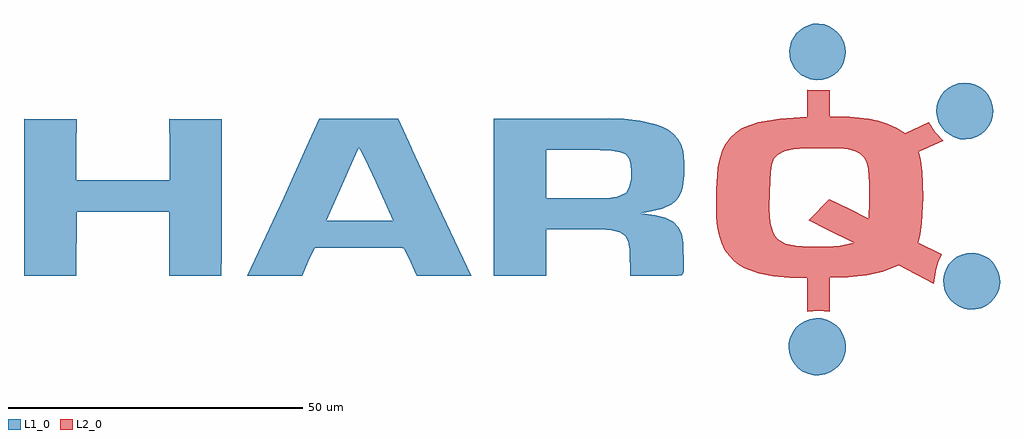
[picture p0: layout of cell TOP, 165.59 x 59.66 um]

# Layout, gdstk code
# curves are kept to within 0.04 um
import gdstk
lib = gdstk.Library(unit=1e-6, precision=1e-09)
def P(c, l, *ps):  # polygons
    for p in ps: c.add(gdstk.Polygon(p, *l))
L1_0 = (1, 0)
L2_0 = (2, 0)

top = lib.new_cell('TOP')
P(top, L1_0, [(184.411,27.929),(183.424,27.959),(182.492,28.18),(181.636,28.571),(180.877,29.116),(180.235,29.796),(179.733,30.592),(179.39,31.487),(179.228,32.461),(179.265,33.447),(179.492,34.378),(179.889,35.231),(180.439,35.987),(181.123,36.624),(181.923,37.122),(182.819,37.458),(183.794,37.614),(184.771,37.572),(185.694,37.344),(186.54,36.948),(187.289,36.402),(187.921,35.723),(188.417,34.931),(188.754,34.044),(188.913,33.078),(188.878,32.1),(188.656,31.177),(188.266,30.328),(187.724,29.575),(187.05,28.938),(186.261,28.438),(185.376,28.095)],
  [(209.937,39.088),(209.007,39.242),(208.14,39.568),(207.357,40.051),(206.679,40.672),(206.128,41.417),(205.725,42.269),(205.492,43.211),(205.452,44.181),(205.599,45.111),(205.92,45.981),(206.396,46.767),(207.013,47.45),(207.754,48.006),(208.603,48.414),(209.544,48.654),(210.522,48.701),(211.462,48.555),(212.339,48.234),(213.133,47.754),(213.82,47.132),(214.38,46.383),(214.788,45.525),(215.024,44.574),(215.065,43.595),(214.913,42.657),(214.586,41.781),(214.1,40.991),(213.473,40.307),(212.72,39.753),(211.859,39.351),(210.907,39.122)],
  [(58.381,44.843),(49.475,44.846),(49.484,71.419),(58.386,71.413),(58.373,61.02),(74.166,61.016),(74.158,71.418),(83.025,71.409),(83.028,48.871),(82.904,44.843),(74.157,44.847),(74.158,55.704),(58.383,55.709)],
  [(96.678,44.842),(87.345,44.865),(93.514,58.091),(97.388,66.588),(106.288,66.588),(102.823,58.698),(100.742,54.136),(112.106,54.129),(107.295,64.725),(106.288,66.588),(97.388,66.588),(99.594,71.427),(112.935,71.43),(125.346,44.85),(116.133,44.843),(115.116,47.154),(113.965,49.409),(113.762,49.53),(98.84,49.582),(97.724,47.254)],
  [(160.488,44.841),(152.298,44.844),(152.255,49.276),(152.002,50.675),(151.466,51.638),(150.553,52.245),(149.167,52.577),(147.213,52.714),(138.081,52.741),(138.072,44.843),(129.204,44.843),(129.206,66.213),(145.168,66.213),(138.075,66.138),(138.059,57.961),(148.411,57.962),(150.131,58.228),(151.622,58.886),(152.194,59.956),(152.462,61.171),(152.508,62.438),(152.412,63.66),(152.145,64.636),(151.527,65.43),(150.637,65.788),(149.161,66.023),(145.168,66.213),(129.206,66.213),(129.207,71.439),(143.899,71.447),(148.614,71.511),(151.33,71.437),(154.046,71.156),(156.581,70.565),(157.725,70.122),(158.756,69.562),(159.652,68.874),(160.391,68.044),(160.95,67.06),(161.307,65.909),(161.524,64.104),(161.524,61.966),(161.239,59.868),(160.968,58.95),(160.6,58.182),(160.065,57.524),(159.384,56.99),(157.723,56.221),(155.901,55.734),(154.204,55.386),(156.534,55.086),(158.309,54.623),(159.602,53.964),(160.487,53.074),(161.036,51.919),(161.323,50.464),(161.432,45.658),(161.358,45.271),(161.106,44.87)],
  [(209.225,67.951),(208.247,68.022),(207.332,68.28),(206.5,68.704),(205.77,69.277),(205.163,69.978),(204.698,70.789),(204.397,71.691),(204.278,72.664),(204.357,73.64),(204.621,74.554),(205.052,75.383),(205.63,76.109),(206.336,76.711),(207.15,77.169),(208.054,77.464),(209.027,77.576),(209.994,77.491),(210.897,77.225),(211.718,76.796),(212.436,76.223),(213.034,75.524),(213.49,74.718),(213.786,73.824),(213.903,72.861),(213.826,71.894),(213.566,70.989),(213.143,70.165),(212.575,69.442),(211.881,68.84),(211.079,68.377),(210.187,68.074)],
  [(183.901,77.981),(182.878,78.129),(181.365,78.813),(180.203,79.933),(179.476,81.375),(179.271,83.021),(179.636,84.64),(180.499,86.004),(181.765,87.006),(183.336,87.539),(184.3,87.591),(185.228,87.456),(186.098,87.15),(186.888,86.687),(187.576,86.083),(188.142,85.355),(188.562,84.517),(188.817,83.585),(188.881,82.622),(188.758,81.692),(188.463,80.819),(188.01,80.023),(187.415,79.327),(186.694,78.753),(185.862,78.321),(184.933,78.055)])
P(top, L2_0, [(186.175,38.696),(184.259,38.918),(182.352,38.729),(182.37,44.454),(179.4,44.52),(176.605,44.748),(174.046,45.232),(171.784,46.067),(170.785,46.645),(169.884,47.345),(169.088,48.18),(168.405,49.161),(167.844,50.3),(167.412,51.609),(167.116,53.099),(166.965,54.782),(166.893,59.434),(167.186,63.161),(167.502,64.71),(167.947,66.066),(168.153,66.478),(182.044,66.478),(179.951,66.288),(178.426,65.933),(177.376,65.392),(176.708,64.642),(176.33,63.665),(176.148,62.438),(175.935,56.123),(176.1,53.815),(176.564,52.132),(176.928,51.495),(177.393,50.979),(178.654,50.261),(180.413,49.884),(182.737,49.752),(185.693,49.77),(187.961,49.904),(190.276,50.394),(182.577,54.234),(186.127,57.806),(189.517,56.208),(192.799,54.532),(192.901,57.539),(192.904,60.514),(192.735,63.019),(192.449,64.017),(191.993,64.844),(191.341,65.501),(190.466,65.987),(189.342,66.303),(187.942,66.448),(168.153,66.478),(168.535,67.241),(169.278,68.25),(170.19,69.104),(171.284,69.816),(172.571,70.399),(174.065,70.865),(177.725,71.501),(182.367,71.824),(182.371,76.389),(186.156,76.278),(186.172,71.821),(189.583,71.772),(192.821,71.437),(194.389,71.094),(195.931,70.598),(197.453,69.92),(198.961,69.033),(202.945,70.829),(204.064,69.178),(205.402,67.723),(201.255,65.89),(201.59,64.389),(201.835,62.506),(202.036,58.109),(201.823,53.727),(201.55,51.863),(201.161,50.387),(205.172,48.449),(204.624,47.211),(204.252,46.01),(203.852,43.453),(197.901,46.629),(195.207,45.535),(192.425,44.878),(189.306,44.591),(186.176,44.454)])

lib.write_gds('TOP.gds')
